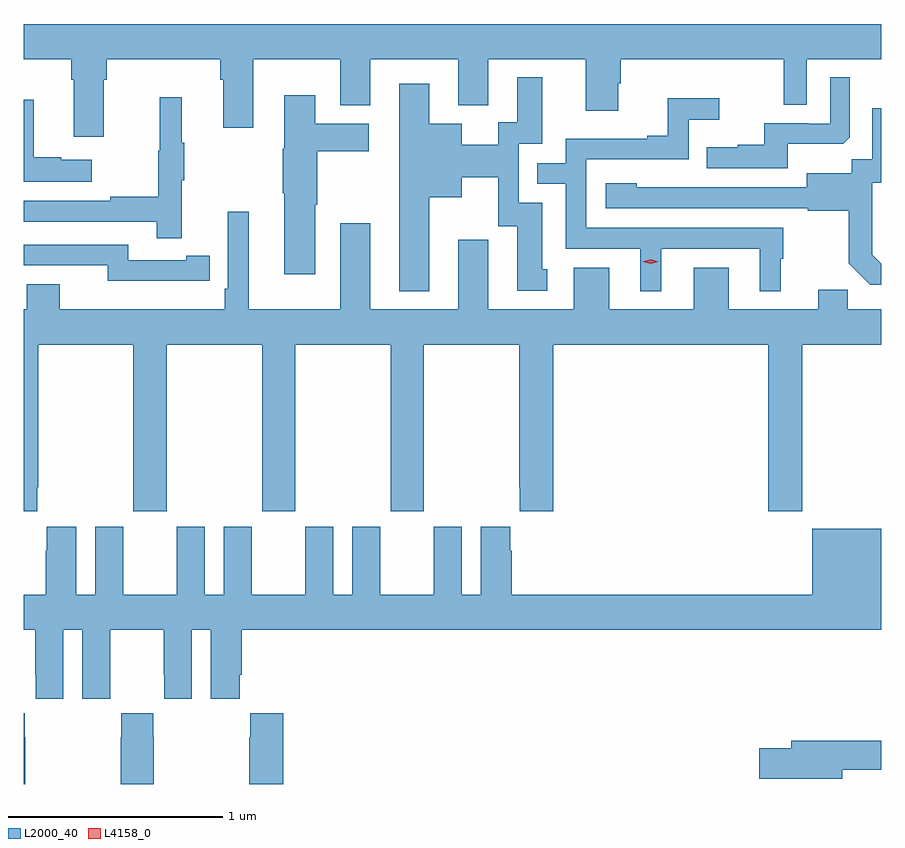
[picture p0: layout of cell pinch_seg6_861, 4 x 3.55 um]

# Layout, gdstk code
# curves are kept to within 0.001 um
import gdstk
lib = gdstk.Library(unit=1e-6, precision=1e-09)
def P(c, l, *ps):  # polygons
    for p in ps: c.add(gdstk.Polygon(p, *l))
L2000_40 = (2000, 40)
L4158_0 = (4158, 0)

pinch_seg6_861 = lib.new_cell('pinch_seg6_861')
P(pinch_seg6_861, L2000_40, [(178.261,925.928),(178.274,925.928),(178.274,926.024),(178.805,926.024),(178.805,925.928),(178.817,925.928),(178.817,925.704),(178.957,925.704),(178.957,926.024),(179.363,926.024),(179.363,925.808),(179.503,925.808),(179.503,926.024),(179.915,926.024),(179.915,925.808),(180.055,925.808),(180.055,926.024),(180.509,926.024),(180.509,925.782),(180.661,925.782),(180.661,925.911),(180.674,925.911),(180.674,926.024),(181.434,926.024),(181.434,925.81),(181.542,925.81),(181.542,926.024),(181.888,926.024),(181.888,926.188),(177.888,926.188),(177.888,926.024),(178.109,926.024),(178.109,925.928),(178.121,925.928),(178.121,925.662),(178.261,925.662)],
  [(181.453,925.628),(181.711,925.628),(181.743,925.659),(181.743,925.939),(181.65,925.939),(181.65,925.722),(181.55,925.722),(181.55,925.725),(181.343,925.725),(181.343,925.624),(181.219,925.624),(181.219,925.612),(181.075,925.612),(181.075,925.515),(181.453,925.515)],
  [(179.779,925.379),(179.932,925.379),(179.932,925.472),(180.102,925.472),(180.102,925.245),(180.191,925.245),(180.191,924.942),(180.331,924.942),(180.331,925.044),(180.307,925.044),(180.307,925.353),(180.198,925.353),(180.198,925.629),(180.307,925.629),(180.307,925.939),(180.191,925.939),(180.191,925.73),(180.101,925.73),(180.101,925.624),(179.932,925.624),(179.932,925.723),(179.779,925.723),(179.779,925.909),(179.639,925.909),(179.639,924.941),(179.779,924.941)],
  [(179.248,925.345),(179.256,925.345),(179.256,925.594),(179.497,925.594),(179.497,925.723),(179.248,925.723),(179.248,925.855),(179.102,925.855),(179.102,925.605),(179.095,925.605),(179.095,925.399),(179.102,925.399),(179.102,925.02),(179.248,925.02)],
  [(178.625,925.459),(178.636,925.459),(178.636,925.633),(178.625,925.633),(178.625,925.846),(178.522,925.846),(178.522,925.596),(178.515,925.596),(178.515,925.382),(178.291,925.382),(178.291,925.362),(177.888,925.362),(177.888,925.266),(178.507,925.266),(178.507,925.188),(178.625,925.188)],
  [(180.862,925.14),(181.322,925.14),(181.322,924.941),(181.42,924.941),(181.42,925.092),(181.432,925.092),(181.432,925.236),(180.513,925.236),(180.513,925.557),(180.99,925.557),(180.99,925.742),(181.132,925.742),(181.132,925.841),(180.892,925.841),(180.892,925.666),(180.797,925.666),(180.797,925.653),(180.417,925.653),(180.417,925.539),(180.283,925.539),(180.283,925.443),(180.417,925.443),(180.417,925.14),(180.764,925.14),(180.764,924.941),(180.862,924.941)],
  [(178.204,925.555),(178.061,925.555),(178.061,925.565),(177.934,925.565),(177.934,925.834),(177.888,925.834),(177.888,925.451),(178.204,925.451)],
  [(181.888,925.07),(181.846,925.112),(181.846,925.207),(181.848,925.207),(181.848,925.448),(181.888,925.448),(181.888,925.795),(181.847,925.795),(181.847,925.556),(181.752,925.556),(181.752,925.492),(181.541,925.492),(181.541,925.425),(180.747,925.426),(180.747,925.444),(180.603,925.444),(180.603,925.329),(181.545,925.329),(181.545,925.317),(181.737,925.317),(181.737,925.071),(181.837,924.971),(181.888,924.971)],
  [(177.949,924.025),(177.954,924.025),(177.954,924.692),(178.399,924.692),(178.399,923.913),(178.554,923.913),(178.554,924.692),(178.999,924.692),(178.999,923.913),(179.154,923.913),(179.154,924.692),(179.599,924.692),(179.599,923.913),(179.754,923.913),(179.754,924.692),(180.199,924.692),(180.199,924.025),(180.203,924.025),(180.203,923.913),(180.359,923.913),(180.359,924.692),(181.361,924.692),(181.361,923.913),(181.521,923.913),(181.521,924.692),(181.888,924.692),(181.888,924.856),(181.733,924.856),(181.733,924.947),(181.595,924.947),(181.595,924.856),(181.177,924.856),(181.177,925.051),(181.013,925.051),(181.013,924.856),(180.619,924.856),(180.619,925.051),(180.455,925.051),(180.455,924.856),(180.055,924.856),(180.055,925.18),(179.915,925.18),(179.915,924.856),(179.503,924.856),(179.503,925.258),(179.363,925.258),(179.363,924.856),(178.936,924.856),(178.936,925.312),(178.839,925.312),(178.839,924.952),(178.826,924.952),(178.826,924.856),(178.054,924.856),(178.054,924.973),(177.902,924.973),(177.902,924.856),(177.888,924.856),(177.888,923.913),(177.949,923.913)],
  [(178.646,924.99),(178.754,924.99),(178.754,925.106),(178.646,925.106),(178.646,925.086),(178.374,925.086),(178.374,925.158),(177.888,925.158),(177.888,925.062),(178.278,925.062),(178.278,924.989),(178.646,924.989)],
  [(178.072,923.36),(178.16,923.36),(178.16,923.04),(178.29,923.04),(178.29,923.152),(178.291,923.152),(178.291,923.36),(178.541,923.36),(178.541,923.152),(178.542,923.152),(178.542,923.04),(178.672,923.04),(178.672,923.36),(178.76,923.36),(178.76,923.04),(178.894,923.04),(178.894,923.152),(178.904,923.152),(178.904,923.36),(181.888,923.36),(181.888,923.833),(181.568,923.833),(181.568,923.524),(180.164,923.524),(180.164,923.729),(180.157,923.729),(180.157,923.842),(180.02,923.842),(180.02,923.524),(179.932,923.524),(179.932,923.842),(179.801,923.842),(179.801,923.524),(179.551,923.524),(179.551,923.842),(179.42,923.842),(179.42,923.524),(179.332,923.524),(179.332,923.842),(179.201,923.842),(179.201,923.524),(178.951,923.524),(178.951,923.842),(178.82,923.842),(178.82,923.524),(178.732,923.524),(178.732,923.842),(178.601,923.842),(178.601,923.524),(178.351,923.524),(178.351,923.842),(178.22,923.842),(178.22,923.524),(178.132,923.524),(178.132,923.842),(177.995,923.842),(177.995,923.729),(177.989,923.729),(177.989,923.524),(177.888,923.524),(177.888,923.36),(177.941,923.36),(177.941,923.152),(177.942,923.152),(177.942,923.04),(178.072,923.04)],
  [(179.099,922.972),(178.945,922.972),(178.945,922.859),(178.939,922.859),(178.939,922.641),(179.099,922.641)],
  [(178.494,922.859),(178.491,922.859),(178.491,922.972),(178.341,922.972),(178.341,922.859),(178.339,922.859),(178.339,922.641),(178.494,922.641)],
  [(177.894,922.859),(177.891,922.859),(177.891,922.972),(177.888,922.972),(177.888,922.641),(177.894,922.641)],
  [(181.708,922.708),(181.888,922.708),(181.888,922.844),(181.469,922.844),(181.469,922.808),(181.32,922.808),(181.32,922.666),(181.708,922.666)])
P(pinch_seg6_861, L4158_0, [(180.813,925.069),(180.777,925.079),(180.777,925.079),(180.777,925.079),(180.813,925.089),(180.849,925.079),(180.849,925.079),(180.849,925.079)])

lib.write_gds('pinch_seg6_861.gds')
